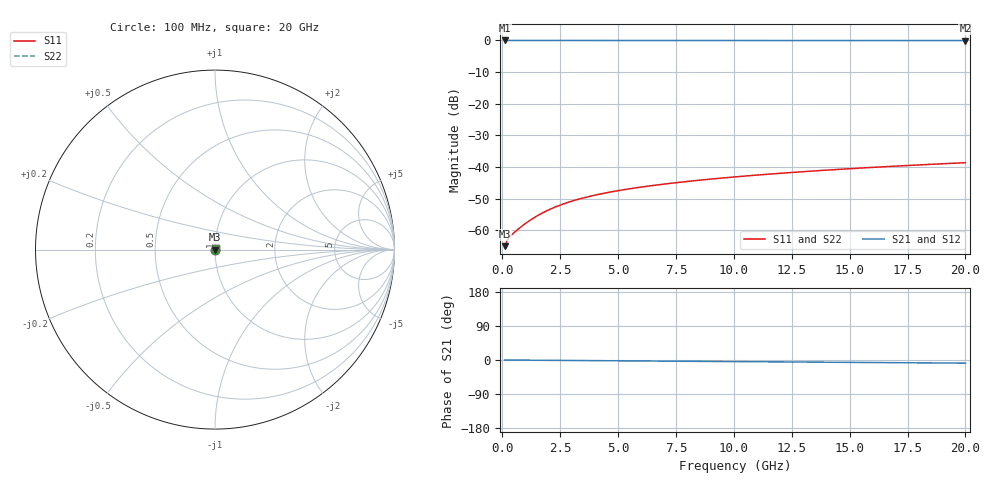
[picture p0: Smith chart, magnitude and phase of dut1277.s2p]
! Touchstone file exported from HFSS 2026.1.0
!  File:  C:/ffzhzh/LocalFiles/Ansys_Project_Files/temp_train_TMRDL_1277_1783164285_18472.aedt
!  Generated:  07:25:54 PM Jul  4, 2026
!  Design:  TMRDL
!  Project:  temp_train_TMRDL_1277_1783164285_18472
! Variables:
!  h_bsmrdl = 2um
!  h_ox = 20um
!  h_rdl = 5um
!  h_sub = 80um
!  h_tmrdl = 5.68um
!  h_tsv = 80um
!  h_via = 3um
!  l_bsmrdl = 300um
!  l_sub = 535.56um
!  l_tmrdl = 135.56um
!  m_sub = 200um
!  pitch = 29.65um
!  r_tsv = 6um
!  s_tmrdl = 10um
!  w_bsmrdl = 18um
!  w_sub = 500um
!  w_tmrdl = 23.26um
!  x_tsv_center1 = 147.19um
!  x_tsv_center2 = 465.19um
!  x_tsv_center3 = 624.01um
!  x_tsv_center4 = 942.01um
!  x_tsv_center5 = 1100.83um
!  x_tsv_center6 = 1418.83um
# GHz S MA R 50.000000
! Terminal data exported
! Port[1] = TM_RDL1_1_T1
! Port[2] = TM_RDL1_1_T2
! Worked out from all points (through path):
!   200 points, 100 MHz to 20 GHz, reference 50 ohm
!   highest |S21| = 0.00 dB at 100 MHz (marker M1); lowest = 0.0 dB at 20 GHz (marker M2)
!   group delay of S21, straight-line fit = 1.15 ps
!   lowest |S11| = -65.0 dB at 100 MHz (marker M3), VSWR 1.00, Z = 50.1 + j0.0191 ohm
!   |S11| at or under -10 dB: start of sweep to end of sweep
!   |S22| runs from -65.0 to -38.6 dB; largest |S21 - S12| = 6.5e-15
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0.1  0.0005628 19.8  0.9995 -0.0  0.9995 -0.0  0.0005628 19.8
! Gamma 0 0 0 0
! Port Impedance 50 0 50 0
0.2  0.0006812 27.7  0.9994 -0.1  0.9994 -0.1  0.0006812 27.7
0.3  0.0007726 31.7  0.9993 -0.1  0.9993 -0.1  0.0007726 31.7
0.4  0.0008471 35.2  0.9993 -0.2  0.9993 -0.2  0.0008471 35.2
0.6  0.0009853 41.5  0.9993 -0.3  0.9993 -0.3  0.0009853 41.5
0.9  0.001206 48.9  0.9992 -0.4  0.9992 -0.4  0.001206 48.9
1.2  0.001445 53.9  0.9992 -0.5  0.9992 -0.5  0.001445 53.9
1.4  0.00161 56.2  0.9991 -0.6  0.9991 -0.6  0.00161 56.2
1.8  0.001942 59.2  0.999 -0.8  0.999 -0.8  0.001942 59.2
2.3  0.00235 61.2  0.9989 -1.0  0.9989 -1.0  0.00235 61.1
2.9  0.002817 62.2  0.9987 -1.3  0.9987 -1.3  0.002817 62.2
3.5  0.003255 62.5  0.9986 -1.5  0.9986 -1.5  0.003255 62.5
4.2  0.003731 62.7  0.9984 -1.8  0.9984 -1.8  0.003731 62.7
4.9  0.004177 62.7  0.9982 -2.1  0.9982 -2.1  0.004177 62.7
5.8  0.004715 62.7  0.998 -2.5  0.998 -2.5  0.004715 62.7
6.8  0.005282 62.7  0.9978 -2.9  0.9978 -2.9  0.005282 62.7
8.3  0.00609 62.8  0.9975 -3.5  0.9975 -3.5  0.006091 62.8
10.1  0.00702 62.9  0.9972 -4.2  0.9972 -4.2  0.007021 62.9
11.7  0.007822 62.9  0.997 -4.9  0.997 -4.9  0.007822 62.9
13.4  0.008653 62.8  0.9968 -5.6  0.9968 -5.6  0.008654 62.8
16.7  0.01022 62.5  0.9964 -6.9  0.9964 -6.9  0.01022 62.5
20  0.01172 62.0  0.996 -8.3  0.996 -8.3  0.01172 62.0
